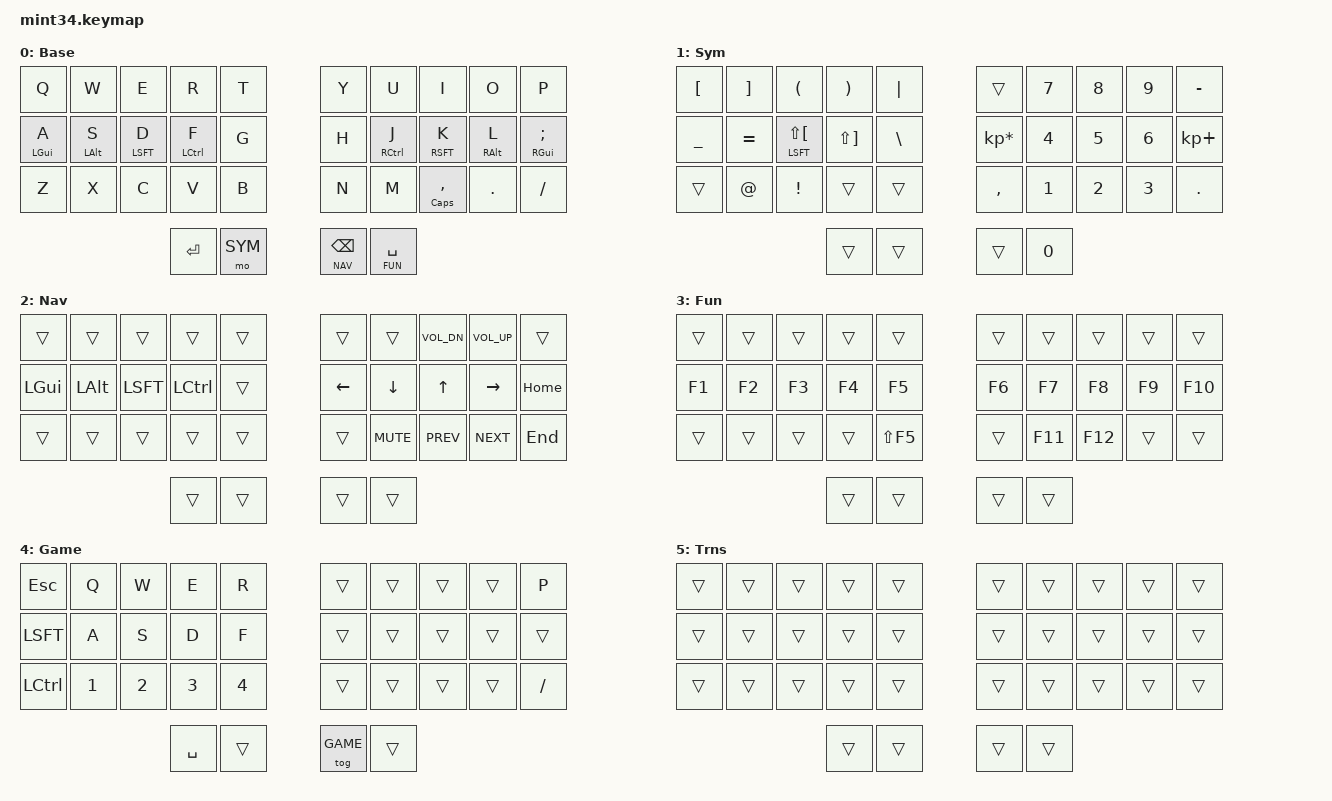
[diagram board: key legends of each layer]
/*
 * Mint34 ZMK Keymap
 * Converted from Vial layout
 * ZMK Studio enabled - unlock with Q + P
 *
 * Key positions (0-indexed, left to right, top to bottom):
 *  0  1  2  3  4    5  6  7  8  9
 * 10 11 12 13 14   15 16 17 18 19
 * 20 21 22 23 24   25 26 27 28 29
 *             30 31   32 33
 */

#include <behaviors.dtsi>
#include <dt-bindings/zmk/keys.h>
#include <dt-bindings/zmk/bt.h>

/* Layer indices */
#define BASE  0
#define SYM   1
#define NAV   2
#define FUN   3
#define GAME  4
#define TRNS  5

/* Timing */
#define HRM_QUICK_TAP 150

/ {
    behaviors {

        /* ─── Home Row Mods (left hand) ─── */

        hml_gui: hml_gui {   /* A - LGUI */
            compatible = "zmk,behavior-hold-tap";
            label = "HML_GUI";
            #binding-cells = <2>;
            flavor = "balanced";
            tapping-term-ms = <175>;
            quick-tap-ms = <HRM_QUICK_TAP>;
            bindings = <&kp>, <&kp>;
        };

        hml_alt: hml_alt {   /* S - LALT */
            compatible = "zmk,behavior-hold-tap";
            label = "HML_ALT";
            #binding-cells = <2>;
            flavor = "balanced";
            tapping-term-ms = <175>;
            quick-tap-ms = <HRM_QUICK_TAP>;
            bindings = <&kp>, <&kp>;
        };

        hml_sft: hml_sft {   /* D - LSHIFT */
            compatible = "zmk,behavior-hold-tap";
            label = "HML_SFT";
            #binding-cells = <2>;
            flavor = "balanced";
            tapping-term-ms = <135>;
            quick-tap-ms = <HRM_QUICK_TAP>;
            bindings = <&kp>, <&kp>;
        };

        hml_ctl: hml_ctl {   /* F - LCTRL */
            compatible = "zmk,behavior-hold-tap";
            label = "HML_CTL";
            #binding-cells = <2>;
            flavor = "balanced";
            tapping-term-ms = <135>;
            quick-tap-ms = <HRM_QUICK_TAP>;
            bindings = <&kp>, <&kp>;
        };

        /* ─── Home Row Mods (right hand) ─── */

        hmr_ctl: hmr_ctl {   /* J - RCTRL */
            compatible = "zmk,behavior-hold-tap";
            label = "HMR_CTL";
            #binding-cells = <2>;
            flavor = "balanced";
            tapping-term-ms = <135>;
            quick-tap-ms = <HRM_QUICK_TAP>;
            bindings = <&kp>, <&kp>;
        };

        hmr_sft: hmr_sft {   /* K - RSHIFT */
            compatible = "zmk,behavior-hold-tap";
            label = "HMR_SFT";
            #binding-cells = <2>;
            flavor = "balanced";
            tapping-term-ms = <135>;
            quick-tap-ms = <HRM_QUICK_TAP>;
            bindings = <&kp>, <&kp>;
        };

        hmr_alt: hmr_alt {   /* L - RALT */
            compatible = "zmk,behavior-hold-tap";
            label = "HMR_ALT";
            #binding-cells = <2>;
            flavor = "balanced";
            tapping-term-ms = <135>;
            quick-tap-ms = <HRM_QUICK_TAP>;
            bindings = <&kp>, <&kp>;
        };

        hmr_gui: hmr_gui {   /* ; - RGUI */
            compatible = "zmk,behavior-hold-tap";
            label = "HMR_GUI";
            #binding-cells = <2>;
            flavor = "balanced";
            tapping-term-ms = <135>;
            quick-tap-ms = <HRM_QUICK_TAP>;
            bindings = <&kp>, <&kp>;
        };

        /* ─── Thumb hold-taps ─── */

        th_spc: th_spc {     /* SPACE / MO(FUN) */
            compatible = "zmk,behavior-hold-tap";
            label = "TH_SPC";
            #binding-cells = <2>;
            flavor = "balanced";
            tapping-term-ms = <150>;
            quick-tap-ms = <HRM_QUICK_TAP>;
            bindings = <&mo>, <&kp>;
        };

        th_bsp: th_bsp {     /* BSPACE / MO(NAV) */
            compatible = "zmk,behavior-hold-tap";
            label = "TH_BSP";
            #binding-cells = <2>;
            flavor = "balanced";
            tapping-term-ms = <150>;
            quick-tap-ms = <HRM_QUICK_TAP>;
            bindings = <&mo>, <&kp>;
        };

        /* ─── Comma / Capslock ─── */
        td_comma: td_comma {
            compatible = "zmk,behavior-hold-tap";
            label = "TD_COMMA";
            #binding-cells = <2>;
            flavor = "tap-preferred";
            tapping-term-ms = <200>;
            bindings = <&kp>, <&kp>;
        };

        /* ─── { tap / LSHIFT hold ─── */
        td_lbrc: td_lbrc {
            compatible = "zmk,behavior-hold-tap";
            label = "TD_LBRC";
            #binding-cells = <2>;
            flavor = "balanced";
            tapping-term-ms = <135>;
            bindings = <&kp>, <&kp>;
        };
    };

    combos {
        compatible = "zmk,combos";

        /* Studio unlock - Q + P */
        combo_studio_unlock {
            timeout-ms = <100>;
            key-positions = <0 9>;
            bindings = <&studio_unlock>;
        };

        /* W + R = TAB */
        combo_tab {
            timeout-ms = <50>;
            key-positions = <1 3>;
            bindings = <&kp TAB>;
        };

        /* Q + W = ESC */
        combo_esc {
            timeout-ms = <50>;
            key-positions = <0 1>;
            bindings = <&kp ESC>;
        };

        /* U + I = QUOTE */
        combo_quote {
            timeout-ms = <50>;
            key-positions = <6 7>;
            bindings = <&kp SQT>;
        };

        /* M + DOT = DELETE */
        combo_del {
            timeout-ms = <50>;
            key-positions = <26 28>;
            bindings = <&kp DEL>;
        };

        /* COMMA + DOT = CAPSLOCK */
        combo_caps {
            timeout-ms = <50>;
            key-positions = <27 28>;
            bindings = <&kp CAPS>;
        };

        /* F + S = ENTER */
        combo_enter {
            timeout-ms = <50>;
            key-positions = <11 13>;
            bindings = <&kp RET>;
        };

        /* J + L = SPACE */
        combo_space {
            timeout-ms = <50>;
            key-positions = <16 18>;
            bindings = <&kp SPC>;
        };

        /* X + V = BACKSPACE */
        combo_bspc {
            timeout-ms = <50>;
            key-positions = <21 23>;
            bindings = <&kp BSPC>;
        };

        /* C + B = DELETE */
        combo_del2 {
            timeout-ms = <50>;
            key-positions = <22 24>;
            bindings = <&kp DEL>;
        };

        /* P + SLASH = TG(GAME) */
        combo_game {
            timeout-ms = <50>;
            key-positions = <9 29>;
            bindings = <&tog GAME>;
        };

        /* D + G = SPACE */
        combo_space2 {
            timeout-ms = <50>;
            key-positions = <12 14>;
            bindings = <&kp SPC>;
        };

        /* P (9) + SYM thumb (32) = BT_CLR_ALL */
        combo_bt_clr {
            timeout-ms = <100>;
            key-positions = <9 32>;
            bindings = <&bt BT_CLR_ALL>;
        };
    };

    keymap {
        compatible = "zmk,keymap";

        /* ─────────────────────────────────────────
           Layer 0: BASE
           Q  W  E  R  T  | Y  U  I  O  P
           A  S  D  F  G  | H  J  K  L  ;
           Z  X  C  V  B  | N  M  ,  .  /
                  ENT SYM | BSP SPC
        ───────────────────────────────────────── */
        base_layer {
            label = "Base";
            bindings = <
                &kp Q            &kp W            &kp E            &kp R            &kp T
                &kp Y            &kp U            &kp I            &kp O            &kp P
                &hml_gui LGUI A  &hml_alt LALT S  &hml_sft LSFT D  &hml_ctl LCTL F  &kp G
                &kp H            &hmr_ctl RCTL J  &hmr_sft RSFT K  &hmr_alt RALT L  &hmr_gui RGUI SEMI
                &kp Z            &kp X            &kp C            &kp V            &kp B
                &kp N            &kp M            &td_comma CAPS COMMA  &kp DOT     &kp FSLH
                                                  &kp RET          &mo SYM
                                                  &th_bsp NAV BSPC &th_spc FUN SPC
            >;
        };

        /* ─────────────────────────────────────────
           Layer 1: SYM
           [  ]  (  )  |  | x  7  8  9  -
           _  =  {  }  \  | *  4  5  6  +
           x  @  !  x  x  | ,  1  2  3  .
                  _  _    | _  0
        ───────────────────────────────────────── */
        sym_layer {
            label = "Sym";
            bindings = <
                &kp LBKT         &kp RBKT         &kp LPAR         &kp RPAR         &kp PIPE
                &trans           &kp N7           &kp N8           &kp N9           &kp MINUS
                &kp UNDER        &kp EQUAL        &td_lbrc LSFT LS(LBKT)  &kp LS(RBKT)  &kp BSLH
                &kp KP_ASTERISK  &kp N4           &kp N5           &kp N6           &kp KP_PLUS
                &trans           &kp AT           &kp EXCL         &trans           &trans
                &kp COMMA        &kp N1           &kp N2           &kp N3           &kp DOT
                                                  &trans           &trans
                                                  &trans           &kp N0
            >;
        };

        /* ─────────────────────────────────────────
           Layer 2: NAV
           x  x  x  x  x  | x    x    VOLD VOLU x
           LGUI LALT LSFT LCTL x | LEFT DOWN UP RIGHT HOME
           x  x  x  x  x  | x  MUTE MPRV MNXT END
                  x  x    | _   _
        ───────────────────────────────────────── */
        nav_layer {
            label = "Nav";
            bindings = <
                &trans    &trans    &trans    &trans    &trans
                &trans    &trans    &kp C_VOL_DN  &kp C_VOL_UP  &trans
                &kp LGUI  &kp LALT  &kp LSFT  &kp LCTL  &trans
                &kp LEFT  &kp DOWN  &kp UP    &kp RIGHT &kp HOME
                &trans    &trans    &trans    &trans    &trans
                &trans    &kp C_MUTE  &kp C_PREV  &kp C_NEXT  &kp END
                                    &trans    &trans
                                    &trans    &trans
            >;
        };

        /* ─────────────────────────────────────────
           Layer 3: FUN
           x   x   x   x   x  | x  x   x   x   x
           F1  F2  F3  F4  F5 | F6 F7  F8  F9  F10
           x   x   x   x  SF5 | x  F11 F12 x   x
                   _   _      | _   _
        ───────────────────────────────────────── */
        fun_layer {
            label = "Fun";
            bindings = <
                &trans   &trans   &trans   &trans   &trans
                &trans   &trans   &trans   &trans   &trans
                &kp F1   &kp F2   &kp F3   &kp F4   &kp F5
                &kp F6   &kp F7   &kp F8   &kp F9   &kp F10
                &trans   &trans   &trans   &trans   &kp LS(F5)
                &trans   &kp F11  &kp F12  &trans   &trans
                                  &trans   &trans
                                  &trans   &trans
            >;
        };

        /* ─────────────────────────────────────────
           Layer 4: GAME
           ESC Q  W  E  R  | x  x  x  x  P
           LSFT A  S  D  F | x  x  x  x  x
           LCTL 1  2  3  4 | x  x  x  x  /
                   SPC x   | TG(GAME) x
        ───────────────────────────────────────── */
        game_layer {
            label = "Game";
            bindings = <
                &kp ESC   &kp Q    &kp W    &kp E    &kp R
                &trans    &trans   &trans   &trans   &kp P
                &kp LSFT  &kp A    &kp S    &kp D    &kp F
                &trans    &trans   &trans   &trans   &trans
                &kp LCTL  &kp N1   &kp N2   &kp N3   &kp N4
                &trans    &trans   &trans   &trans   &kp FSLH
                                   &kp SPC  &trans
                                   &tog GAME &trans
            >;
        };

        /* ─────────────────────────────────────────
           Layer 5: TRNS
        ───────────────────────────────────────── */
        trns_layer {
            label = "Trns";
            bindings = <
                &trans &trans &trans &trans &trans
                &trans &trans &trans &trans &trans
                &trans &trans &trans &trans &trans
                &trans &trans &trans &trans &trans
                &trans &trans &trans &trans &trans
                &trans &trans &trans &trans &trans
                              &trans &trans
                              &trans &trans
            >;
        };
    };
};
